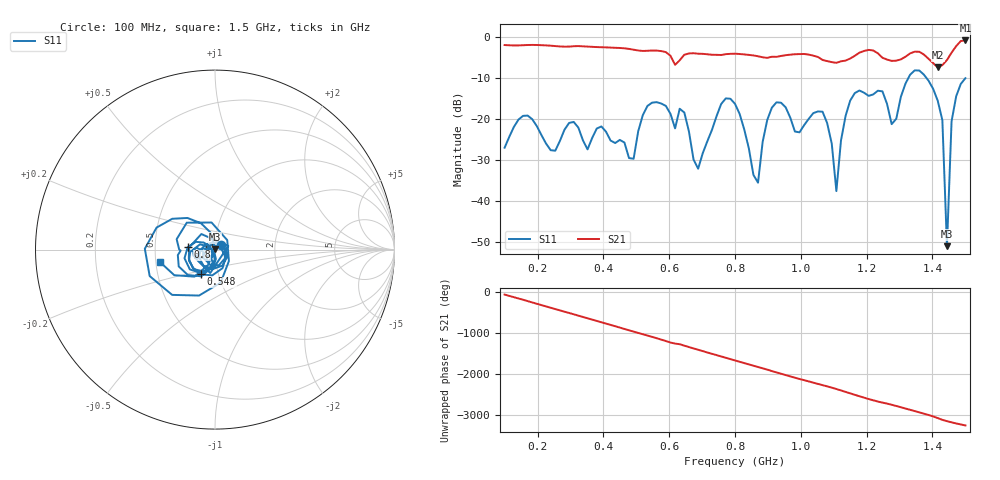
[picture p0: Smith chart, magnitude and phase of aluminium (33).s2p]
! NanoVNA-App
! Date: 2025-09-26 09:58:19
! Start: 100MHz Stop: 1,5GHz Points: 101
! S-Parameter data: F S11 S21 S12 S22
# Hz S RI R 50
!  Frequency  S11_Real  S11_Imag  S21_Real  S21_Imag  S12_Real  S12_Imag  S22_Real  S22_Imag
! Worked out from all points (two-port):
!   101 points, 100 MHz to 1.5 GHz, reference 50 ohm
!   highest |S21| = -0.80 dB at 1.5 GHz (marker M1); lowest = -7.4 dB at 1.416 GHz (marker M2)
!   |S21| within 3 dB of the highest: start of sweep to 592.2 MHz; 1.178 GHz to 1.231 GHz (53.18 MHz wide, 4.42 % of centre) (the widest 2 of 4)
!   lowest |S11| = -51.1 dB at 1.444 GHz (marker M3), VSWR 1.01, Z = 49.8 + j0.206 ohm
!   |S11| at or under -10 dB: start of sweep to 1.327 GHz; 1.382 GHz to end of sweep
!   S12 and S22 are empty: the file has one direction only
!   S11 on the Smith chart (normalised r, x): 100 MHz: 1.07, +0.06; 548 MHz: 0.83, -0.23; 800 MHz: 0.74, +0.02; 1.5 GHz: 0.53, -0.08
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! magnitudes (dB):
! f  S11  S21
! 100 MHz  -27.0  -1.9
! 156 MHz  -19.3  -2.0
! 338 MHz  -25.2  -2.2
! 492 MHz  -29.7  -3.1
! 548 MHz  -16.0  -3.3
! 576 MHz  -16.2  -3.4
! 646 MHz  -18.4  -4.3
! 688 MHz  -32.2  -4.0
! 800 MHz  -16.3  -4.0
! 870 MHz  -35.6  -4.7
! 912 MHz  -17.2  -4.8
! 1.038 GHz  -18.6  -4.5
! 1.08 GHz  -21.0  -5.8
! 1.108 GHz  -37.7  -6.3
! 1.164 GHz  -13.7  -4.6
! 1.276 GHz  -21.3  -5.8
! 1.346 GHz  -8.1  -3.5
! 1.416 GHz  -15.6  -7.4
! 1.43 GHz  -20.3  -6.8
! 1.444 GHz  -51.1  -5.6
! 1.458 GHz  -20.6  -3.8
! 1.5 GHz  -10.0  -0.8
